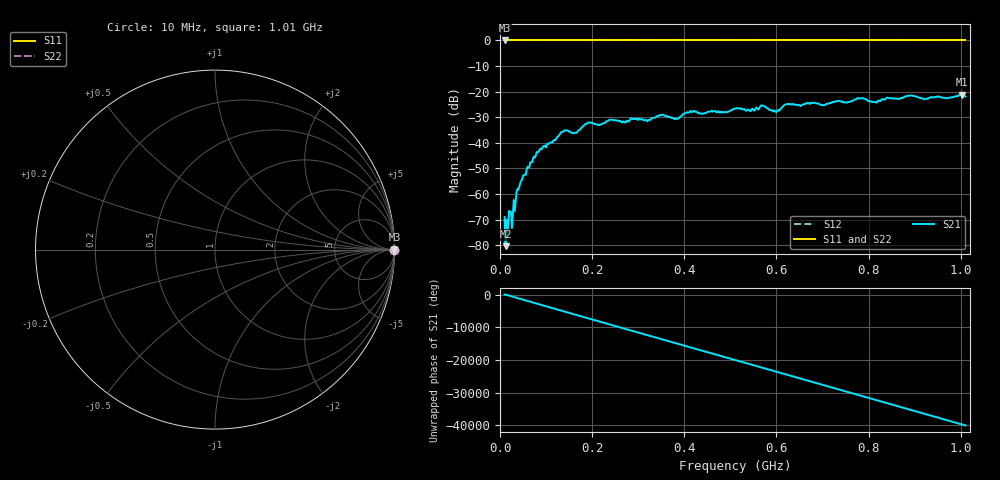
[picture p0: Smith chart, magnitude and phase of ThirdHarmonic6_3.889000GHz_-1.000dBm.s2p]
! 8/17/2025 1:39:19 PM
! C:\ANRITSUVNA\TEMP\TEMP.S2P
! CHANNEL.1
! TR.MEASUREMENT
! RAW.DATA
! RF.CORRECTION.OFF
! AVERAGING.OFF
! IF.BANDWIDTH: 5KHZ
! SWEEPTYPE:  FREQ.SWEEP(Linear)
! Reference Plane Port Info
! PORT:  PORT1  PORT2
! DISTANCE:  0  m  0  m
! TIME:  0  s  0  s
! PHASE.OFFSET:  0  deg.  0  deg.
! LOSS:  0  dB  0  dB
! REF.LOSS:  0  dB  0  dB
! REF.FREQ:  0  Hz  0  Hz
! Power Info
! POWER:  -20  dBm  -20  dBm
! EFF.POWER:  -20  dBm  -20  dBm
! SOURCE.ATTEN:  0  dB  0  dB
! TEST.ATTEN:  0  dB  0  dB
# GHZ S RI R 50.0
! FREQ.GHZ  S11RE  S11IM  S21RE  S21IM  S12RE  S12IM  S22RE  S22IM
!; PortSelection: Port_12
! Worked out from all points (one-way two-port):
!   501 points, 10 MHz to 1.01 GHz, reference 50 ohm
!   highest |S21| = -21.19 dB at 1.002 GHz (marker M1); lowest = -80.3 dB at 12 MHz (marker M2)
!   lowest |S11| = 0.0 dB at 10 MHz (marker M3)
!   |S11| at or under -10 dB: nowhere
!   |S22| runs from 0.0 to 0.0 dB; largest |S21 - S12| = 1.1
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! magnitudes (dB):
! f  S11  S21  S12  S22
! 10 MHz  0.0  -69.0  0.0  0.0
! 12 MHz  0.0  -80.3  0.0  0.0
! 30 MHz  0.0  -62.3  0.0  0.0
! 34 MHz  0.0  -63.0  0.0  0.0
! 48 MHz  0.0  -54.4  0.0  0.0
! 84 MHz  0.0  -43.5  0.0  0.0
! 136 MHz  0.0  -35.7  0.0  0.0
! 162 MHz  0.0  -36.0  0.0  0.0
! 178 MHz  0.0  -33.9  0.0  0.0
! 192 MHz  0.0  -32.0  0.0  0.0
! 322 MHz  0.0  -31.1  0.0  0.0
! 344 MHz  0.0  -29.5  0.0  0.0
! 382 MHz  0.0  -30.5  0.0  0.0
! 416 MHz  0.0  -28.0  0.0  0.0
! 510 MHz  0.0  -26.6  0.0  0.0
! 570 MHz  0.0  -25.4  0.0  0.0
! 596 MHz  0.0  -27.4  0.0  0.0
! 622 MHz  0.0  -24.9  0.0  0.0
! 678 MHz  0.0  -24.4  0.0  0.0
! 844 MHz  0.0  -22.5  0.0  0.0
! 1.002 GHz  0.0  -21.2  0.0  0.0
! 1.01 GHz  0.0  -21.9  0.0  0.0
